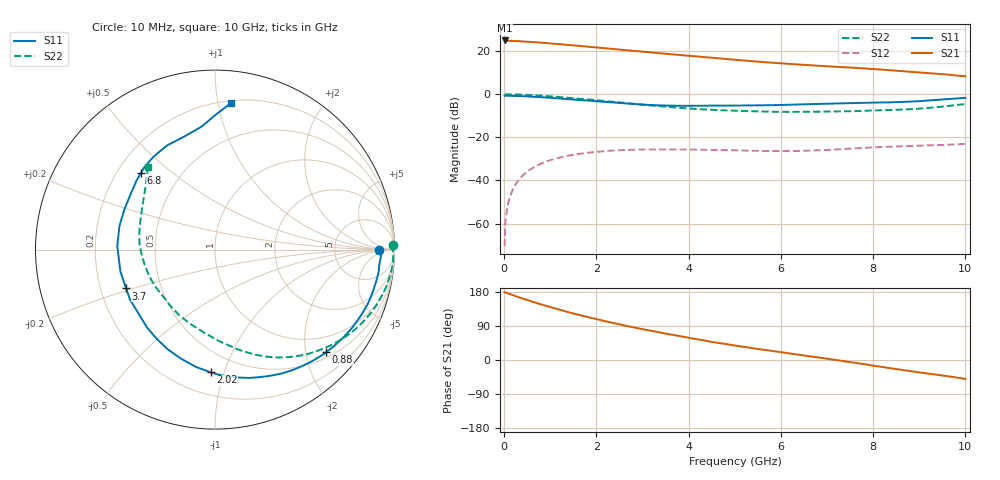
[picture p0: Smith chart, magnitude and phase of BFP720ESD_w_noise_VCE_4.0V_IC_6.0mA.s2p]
! Infineon Technologies  Discrete & RF Semiconductors
! BFP720ESD
! VCE =  4.0 V,  IC =  6.0 mA
! Common Emitter S-Parameters:  Jan 2016
# GHz  S  MA  R  50
!  f  S11  S21  S12  S22
! GHz  MAG  ANG  MAG  ANG  MAG  ANG  MAG  ANG
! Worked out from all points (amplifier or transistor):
!   233 points, 10 MHz to 10 GHz, reference 50 ohm
!   highest |S21| = 24.9 dB at 10 MHz (marker M1)
!   |S21| within 3 dB of that: start of sweep to 1.869 GHz
!   unconditionally stable (mu >= 1): start of sweep to 11.78 MHz; 5.592 GHz to 9.19 GHz
!   at 200 MHz: K = 0.10, MSG = 34.2 dB, |S12| = -43.6 dB
!   at 1.74 GHz: K = 0.30, MSG = 24.8 dB, |S12| = -27.3 dB
!   at 10 GHz: K = 0.69, MSG = 15.7 dB, |S12| = -23.0 dB
!   lowest NFmin = 0.58 dB at 450 MHz
!   S11 on the Smith chart (normalised r, x): 10 MHz: 22, -1; 880 MHz: 0.61, -2.42; 2.02 GHz: 0.35, -0.90; 3.7 GHz: 0.31, -0.19; 6.8 GHz: 0.30, +0.39; 10 GHz: 0.22, +1.09
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0.01  0.915 -0.2  17.62 178.9  0.0003 5.4  0.9901 1.5
0.02  0.9263 -0.8  17.33 178.2  0.0009 56.0  0.9901 -0.3
0.055  0.9244 -2.5  17.25 176.9  0.0019 75.8  0.9943 -1.5
0.19  0.9179 -9.6  17.2 171.2  0.0063 80.5  0.9905 -6.2
0.38  0.904 -18.9  16.79 163.0  0.0124 75.8  0.9754 -12.4
0.58  0.8812 -28.7  16.26 154.8  0.0184 70.0  0.9529 -18.6
0.88  0.8426 -42.8  15.42 143.7  0.0266 61.5  0.9108 -27.4
1.26  0.7877 -60.3  14.29 130.4  0.0352 51.5  0.8485 -37.8
1.68  0.7287 -78.3  13.03 117.0  0.0422 41.7  0.7782 -48.2
2.02  0.6841 -92.0  12.05 107.3  0.0464 35.0  0.7237 -55.9
2.4  0.6365 -107.3  11.1 96.7  0.0498 28.1  0.6623 -64.3
2.78  0.5948 -122.5  10.17 86.7  0.0517 22.0  0.6022 -72.5
3.4  0.55 -145.7  8.845 72.1  0.0524 14.2  0.5234 -84.7
3.7  0.5401 -156.4  8.298 65.5  0.0524 11.3  0.4929 -90.8
4  0.5411 -166.9  7.825 58.6  0.0523 8.7  0.4675 -97.3
4.5  0.5449 177.9  7.032 47.8  0.0514 5.1  0.4348 -109.1
5.1  0.5478 164.1  6.163 36.4  0.0496 2.9  0.4113 -121.2
6  0.563 146.5  5.196 20.5  0.0477 3.5  0.3894 -138.8
6.8  0.5944 133.8  4.568 6.9  0.0501 5.9  0.3929 -155.1
8.4  0.6487 106.9  3.574 -22.1  0.0609 2.9  0.4317 167.5
9  0.6896 96.2  3.207 -32.8  0.0642 0.4  0.4624 151.9
10  0.823 83.6  2.595 -49.9  0.0704 -4.2  0.5925 129.0
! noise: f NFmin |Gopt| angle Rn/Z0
0.45  0.58  0.43  5  0.13
0.9  0.61  0.42  12  0.14
1.9  0.64  0.36  31  0.13
2.4  0.68  0.34  36  0.14
5.5  0.89  0.11  111  0.08
10  1.47  0.54  -97  0.38
